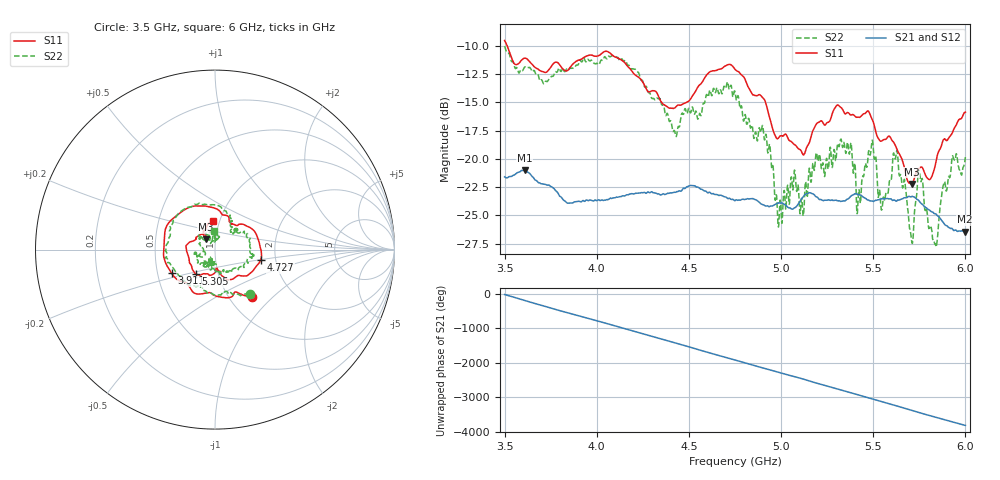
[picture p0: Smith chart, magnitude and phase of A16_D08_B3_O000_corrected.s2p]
! Created with skrf 1.9.0 (http://scikit-rf.org).
# Hz S RI R 50.0
!freq ReS11 ImS11 ReS21 ImS21 ReS12 ImS12 ReS22 ImS22
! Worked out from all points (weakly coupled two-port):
!   1601 points, 3.5 GHz to 6 GHz, reference 50 ohm
!   highest |S21| = -21.00 dB at 3.609 GHz (marker M1); lowest = -26.4 dB at 5.995 GHz (marker M2)
!   lowest |S11| = -22.2 dB at 5.709 GHz (marker M3), VSWR 1.17, Z = 44.7 + j5.14 ohm
!   |S11| at or under -10 dB: 3.514 GHz to end of sweep
!   |S22| runs from -27.7 to -10.0 dB; largest |S21 - S12| = 0.0011
!   S11 on the Smith chart (normalised r, x): 3.5 GHz: 1.27, -0.75; 3.911 GHz: 0.59, -0.17; 4.727 GHz: 1.67, -0.20; 5.305 GHz: 0.78, -0.22; 6 GHz: 0.93, +0.31
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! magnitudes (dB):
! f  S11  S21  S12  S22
! 3.5 GHz  -9.5  -21.6  -21.6  -10.0
! 3.609 GHz  -11.1  -21.0  -21.0  -11.9
! 3.911 GHz  -11.2  -23.8  -23.8  -11.3
! 3.917 GHz  -11.2  -23.8  -23.8  -11.4
! 4.334 GHz  -14.4  -23.1  -23.1  -14.7
! 4.425 GHz  -15.5  -23.0  -22.9  -17.7
! 4.727 GHz  -11.7  -23.6  -23.5  -13.5
! 4.75 GHz  -12.1  -23.7  -23.6  -14.1
! 4.909 GHz  -14.7  -24.1  -24.1  -18.3
! 4.994 GHz  -18.0  -23.9  -23.9  -23.9
! 5.167 GHz  -17.8  -23.1  -23.0  -21.2
! 5.305 GHz  -15.2  -23.7  -23.7  -18.9
! 5.42 GHz  -16.3  -23.2  -23.2  -22.9
! 5.487 GHz  -16.3  -23.7  -23.7  -19.3
! 5.584 GHz  -18.0  -23.5  -23.5  -22.5
! 5.622 GHz  -18.9  -23.7  -23.7  -19.9
! 5.709 GHz  -22.2  -23.3  -23.3  -27.4
! 5.753 GHz  -20.8  -23.8  -23.8  -21.4
! 5.836 GHz  -20.6  -24.9  -24.8  -27.6
! 5.936 GHz  -17.4  -26.3  -26.3  -20.0
! 5.995 GHz  -15.9  -26.4  -26.4  -20.4
! 6 GHz  -15.9  -26.4  -26.4  -19.8
